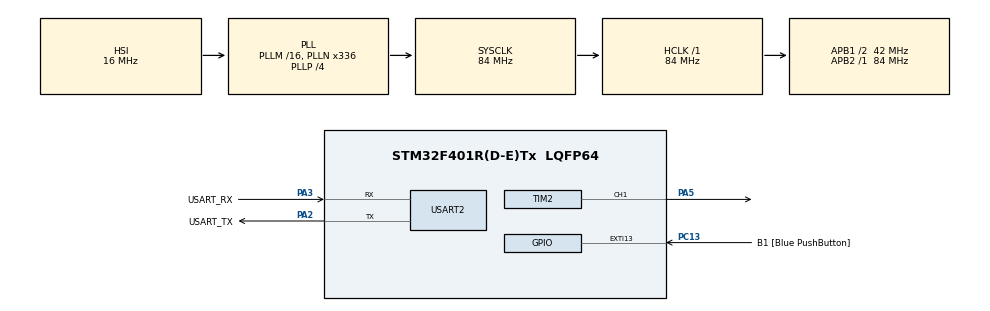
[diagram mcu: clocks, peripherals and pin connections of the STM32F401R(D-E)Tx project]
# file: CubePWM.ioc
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Mcu.Family=STM32F4
Mcu.Name=STM32F401R(D-E)Tx
Mcu.Package=LQFP64
NVIC.PriorityGroup=NVIC_PRIORITYGROUP_0
PA13.GPIO_Label=TMS
PA13.Mode=Serial_Wire
PA13.Signal=SYS_JTMS-SWDIO
PA14.GPIO_Label=TCK
PA14.Mode=Serial_Wire
PA14.Signal=SYS_JTCK-SWCLK
PA2.GPIO_Label=USART_TX
PA2.GPIO_Mode=GPIO_MODE_AF_PP
PA2.GPIO_PuPd=GPIO_NOPULL
PA2.GPIO_Speed=GPIO_SPEED_FREQ_LOW
PA2.Mode=Asynchronous
PA2.Signal=USART2_TX
PA3.GPIO_Label=USART_RX
PA3.GPIO_Mode=GPIO_MODE_AF_PP
PA3.GPIO_PuPd=GPIO_NOPULL
PA3.GPIO_Speed=GPIO_SPEED_FREQ_LOW
PA3.Mode=Asynchronous
PA3.Signal=USART2_RX
PA5.Signal=S_TIM2_CH1_ETR
PB3.GPIO_Label=SWO
PB3.Signal=SYS_JTDO-SWO
PC13-ANTI_TAMP.GPIO_Label=B1 [Blue PushButton]
PC13-ANTI_TAMP.GPIO_ModeDefaultEXTI=GPIO_MODE_IT_FALLING
PC13-ANTI_TAMP.GPIO_PuPd=GPIO_NOPULL
PC13-ANTI_TAMP.Signal=GPXTI13
PC14-OSC32_IN.Mode=LSE-External-Oscillator
PC14-OSC32_IN.Signal=RCC_OSC32_IN
PC15-OSC32_OUT.Mode=LSE-External-Oscillator
PC15-OSC32_OUT.Signal=RCC_OSC32_OUT
PH0\ -\ OSC_IN.Mode=HSE-External-Clock-Source
PH0\ -\ OSC_IN.Signal=RCC_OSC_IN
PH1\ -\ OSC_OUT.Mode=HSE-External-Clock-Source
PH1\ -\ OSC_OUT.Signal=RCC_OSC_OUT
ProjectManager.HeapSize=0x200
ProjectManager.StackSize=0x400
ProjectManager.TargetToolchain=EWARM V8
RCC.48MHZClocksFreq_Value=48000000
RCC.AHBFreq_Value=84000000
RCC.APB1CLKDivider=RCC_HCLK_DIV2
RCC.APB1Freq_Value=42000000
RCC.APB1TimFreq_Value=84000000
RCC.APB2Freq_Value=84000000
RCC.APB2TimFreq_Value=84000000
RCC.CortexFreq_Value=84000000
RCC.HCLKFreq_Value=84000000
RCC.HSE_VALUE=8000000
RCC.HSI_VALUE=16000000
RCC.PLLN=336
RCC.PLLP=RCC_PLLP_DIV4
RCC.PLLQ=7
RCC.SYSCLKFreq_VALUE=84000000
RCC.SYSCLKSource=RCC_SYSCLKSOURCE_PLLCLK
RCC.VCOOutputFreq_Value=336000000
SH.S_TIM2_CH1_ETR.0=TIM2_CH1,PWM Generation1 CH1
TIM2.Channel-PWM\ Generation1\ CH1=TIM_CHANNEL_1
TIM2.Period=2000-1
TIM2.Prescaler=840-1
USART2.VirtualMode=VM_ASYNC
board=NUCLEO-F401RE

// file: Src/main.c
/**
  ******************************************************************************
  * @file           : main.c
  * @brief          : Main program body
  ******************************************************************************
  ** This notice applies to any and all portions of this file
  * that are not between comment pairs USER CODE BEGIN and
  * USER CODE END. Other portions of this file, whether
  * inserted by the user or by software development tools
  * are owned by their respective copyright owners.
  *
  * COPYRIGHT(c) 2019 STMicroelectronics
  *
  * Redistribution and use in source and binary forms, with or without modification,
  * are permitted provided that the following conditions are met:
  *   1. Redistributions of source code must retain the above copyright notice,
  *      this list of conditions and the following disclaimer.
  *   2. Redistributions in binary form must reproduce the above copyright notice,
  *      this list of conditions and the following disclaimer in the documentation
  *      and/or other materials provided with the distribution.
  *   3. Neither the name of STMicroelectronics nor the names of its contributors
  *      may be used to endorse or promote products derived from this software
  *      without specific prior written permission.
  *
  * THIS SOFTWARE IS PROVIDED BY THE COPYRIGHT HOLDERS AND CONTRIBUTORS "AS IS"
  * AND ANY EXPRESS OR IMPLIED WARRANTIES, INCLUDING, BUT NOT LIMITED TO, THE
  * IMPLIED WARRANTIES OF MERCHANTABILITY AND FITNESS FOR A PARTICULAR PURPOSE ARE
  * DISCLAIMED. IN NO EVENT SHALL THE COPYRIGHT HOLDER OR CONTRIBUTORS BE LIABLE
  * FOR ANY DIRECT, INDIRECT, INCIDENTAL, SPECIAL, EXEMPLARY, OR CONSEQUENTIAL
  * DAMAGES (INCLUDING, BUT NOT LIMITED TO, PROCUREMENT OF SUBSTITUTE GOODS OR
  * SERVICES; LOSS OF USE, DATA, OR PROFITS; OR BUSINESS INTERRUPTION) HOWEVER
  * CAUSED AND ON ANY THEORY OF LIABILITY, WHETHER IN CONTRACT, STRICT LIABILITY,
  * OR TORT (INCLUDING NEGLIGENCE OR OTHERWISE) ARISING IN ANY WAY OUT OF THE USE
  * OF THIS SOFTWARE, EVEN IF ADVISED OF THE POSSIBILITY OF SUCH DAMAGE.
  *
  ******************************************************************************
  */
#include "main.h"
#include "stm32f4xx_hal.h"

TIM_HandleTypeDef htim2;

UART_HandleTypeDef huart2;

/* USER CODE BEGIN PV */
/* Private variables ---------------------------------------------------------*/
int dutyCycle; //2000-1 is 100% duty cycle
uint32_t delay;
int down;

/* USER CODE END PV */

void SystemClock_Config(void);
static void MX_GPIO_Init(void);
static void MX_USART2_UART_Init(void);
static void MX_TIM2_Init(void);
void HAL_TIM_MspPostInit(TIM_HandleTypeDef *htim);

/* USER CODE BEGIN PFP */
/* Private function prototypes -----------------------------------------------*/
void User_PWM_SetValue(uint16_t);

/* USER CODE END PFP */

int main(void)
{

  /* MCU Configuration----------------------------------------------------------*/

  /* Reset of all peripherals, Initializes the Flash interface and the Systick. */
  HAL_Init();

  /* Configure the system clock */
  SystemClock_Config();

  /* Initialize all configured peripherals */
  MX_GPIO_Init();
  MX_USART2_UART_Init();
  MX_TIM2_Init();

  /* Infinite loop */
  /* USER CODE BEGIN WHILE */
  while (1)
  {
    User_PWM_SetValue(dutyCycle);
    while(delay<100000) { ++delay; }
    delay = 0;
    if(down) {
      if(dutyCycle > 1000)      { dutyCycle -= 10; }
      else if(dutyCycle > 500)  { dutyCycle -= 2; }
      else if(dutyCycle > 0)    { dutyCycle--; }
      else { down = 0; }
    } else {
      if(dutyCycle < 500)             { dutyCycle++; }
      else if(dutyCycle < 1000)       { dutyCycle += 2; }
      if(dutyCycle < (TIM2->ARR)-500) { dutyCycle += 10; }
      else { down = 1; }
    }

  /* USER CODE END WHILE */

  }

}

void SystemClock_Config(void)
{

  RCC_OscInitTypeDef RCC_OscInitStruct;
  RCC_ClkInitTypeDef RCC_ClkInitStruct;

    /**Configure the main internal regulator output voltage
    */
  __HAL_RCC_PWR_CLK_ENABLE();

  __HAL_PWR_VOLTAGESCALING_CONFIG(PWR_REGULATOR_VOLTAGE_SCALE2);

    /**Initializes the CPU, AHB and APB busses clocks
    */
  RCC_OscInitStruct.OscillatorType = RCC_OSCILLATORTYPE_HSI;
  RCC_OscInitStruct.HSIState = RCC_HSI_ON;
  RCC_OscInitStruct.HSICalibrationValue = 16;
  RCC_OscInitStruct.PLL.PLLState = RCC_PLL_ON;
  RCC_OscInitStruct.PLL.PLLSource = RCC_PLLSOURCE_HSI;
  RCC_OscInitStruct.PLL.PLLM = 16;
  RCC_OscInitStruct.PLL.PLLN = 336;
  RCC_OscInitStruct.PLL.PLLP = RCC_PLLP_DIV4;
  RCC_OscInitStruct.PLL.PLLQ = 7;
  if (HAL_RCC_OscConfig(&RCC_OscInitStruct) != HAL_OK)
  {
    _Error_Handler(__FILE__, __LINE__);
  }

    /**Initializes the CPU, AHB and APB busses clocks
    */
  RCC_ClkInitStruct.ClockType = RCC_CLOCKTYPE_HCLK|RCC_CLOCKTYPE_SYSCLK
                              |RCC_CLOCKTYPE_PCLK1|RCC_CLOCKTYPE_PCLK2;
  RCC_ClkInitStruct.SYSCLKSource = RCC_SYSCLKSOURCE_PLLCLK;
  RCC_ClkInitStruct.AHBCLKDivider = RCC_SYSCLK_DIV1;
  RCC_ClkInitStruct.APB1CLKDivider = RCC_HCLK_DIV2;
  RCC_ClkInitStruct.APB2CLKDivider = RCC_HCLK_DIV1;

  if (HAL_RCC_ClockConfig(&RCC_ClkInitStruct, FLASH_LATENCY_2) != HAL_OK)
  {
    _Error_Handler(__FILE__, __LINE__);
  }

    /**Configure the Systick interrupt time
    */
  HAL_SYSTICK_Config(HAL_RCC_GetHCLKFreq()/1000);

    /**Configure the Systick
    */
  HAL_SYSTICK_CLKSourceConfig(SYSTICK_CLKSOURCE_HCLK);

  /* SysTick_IRQn interrupt configuration */
  HAL_NVIC_SetPriority(SysTick_IRQn, 0, 0);
}

/* TIM2 init function */
static void MX_TIM2_Init(void)
{

  TIM_MasterConfigTypeDef sMasterConfig;
  TIM_OC_InitTypeDef sConfigOC;

  htim2.Instance = TIM2;
  htim2.Init.Prescaler = 840-1;
  htim2.Init.CounterMode = TIM_COUNTERMODE_UP;
  htim2.Init.Period = 2000-1;
  htim2.Init.ClockDivision = TIM_CLOCKDIVISION_DIV1;
  if (HAL_TIM_PWM_Init(&htim2) != HAL_OK)
  {
    _Error_Handler(__FILE__, __LINE__);
  }

  sMasterConfig.MasterOutputTrigger = TIM_TRGO_RESET;
  sMasterConfig.MasterSlaveMode = TIM_MASTERSLAVEMODE_DISABLE;
  if (HAL_TIMEx_MasterConfigSynchronization(&htim2, &sMasterConfig) != HAL_OK)
  {
    _Error_Handler(__FILE__, __LINE__);
  }

  sConfigOC.OCMode = TIM_OCMODE_PWM1;
  sConfigOC.Pulse = 0;
  sConfigOC.OCPolarity = TIM_OCPOLARITY_HIGH;
  sConfigOC.OCFastMode = TIM_OCFAST_DISABLE;
  if (HAL_TIM_PWM_ConfigChannel(&htim2, &sConfigOC, TIM_CHANNEL_1) != HAL_OK)
  {
    _Error_Handler(__FILE__, __LINE__);
  }

  HAL_TIM_MspPostInit(&htim2);

}

/* USART2 init function */
static void MX_USART2_UART_Init(void)
{

  huart2.Instance = USART2;
  huart2.Init.BaudRate = 115200;
  huart2.Init.WordLength = UART_WORDLENGTH_8B;
  huart2.Init.StopBits = UART_STOPBITS_1;
  huart2.Init.Parity = UART_PARITY_NONE;
  huart2.Init.Mode = UART_MODE_TX_RX;
  huart2.Init.HwFlowCtl = UART_HWCONTROL_NONE;
  huart2.Init.OverSampling = UART_OVERSAMPLING_16;
  if (HAL_UART_Init(&huart2) != HAL_OK)
  {
    _Error_Handler(__FILE__, __LINE__);
  }

}

/** Configure pins as
        * Analog
        * Input
        * Output
        * EVENT_OUT
        * EXTI
*/
static void MX_GPIO_Init(void)
{

  GPIO_InitTypeDef GPIO_InitStruct;

  /* GPIO Ports Clock Enable */
  __HAL_RCC_GPIOC_CLK_ENABLE();
  __HAL_RCC_GPIOH_CLK_ENABLE();
  __HAL_RCC_GPIOA_CLK_ENABLE();
  __HAL_RCC_GPIOB_CLK_ENABLE();

  /*Configure GPIO pin : B1_Pin */
  GPIO_InitStruct.Pin = B1_Pin;
  GPIO_InitStruct.Mode = GPIO_MODE_IT_FALLING;
  GPIO_InitStruct.Pull = GPIO_NOPULL;
  HAL_GPIO_Init(B1_GPIO_Port, &GPIO_InitStruct);

}

/* USER CODE BEGIN 4 */

void User_PWM_SetValue(uint16_t value) {
  TIM_OC_InitTypeDef sConfigOC;
  sConfigOC.OCMode = TIM_OCMODE_PWM1;
  sConfigOC.Pulse = value;
  sConfigOC.OCPolarity = TIM_OCPOLARITY_HIGH;
  sConfigOC.OCFastMode = TIM_OCFAST_DISABLE;
  HAL_TIM_PWM_ConfigChannel(&htim2, &sConfigOC, TIM_CHANNEL_1);
  HAL_TIM_PWM_Start(&htim2, TIM_CHANNEL_1);
}
/* USER CODE END 4 */

void _Error_Handler(char *file, int line)
{
  while(1)
  {
  }
}

/************************ (C) COPYRIGHT STMicroelectronics *****END OF FILE****/
